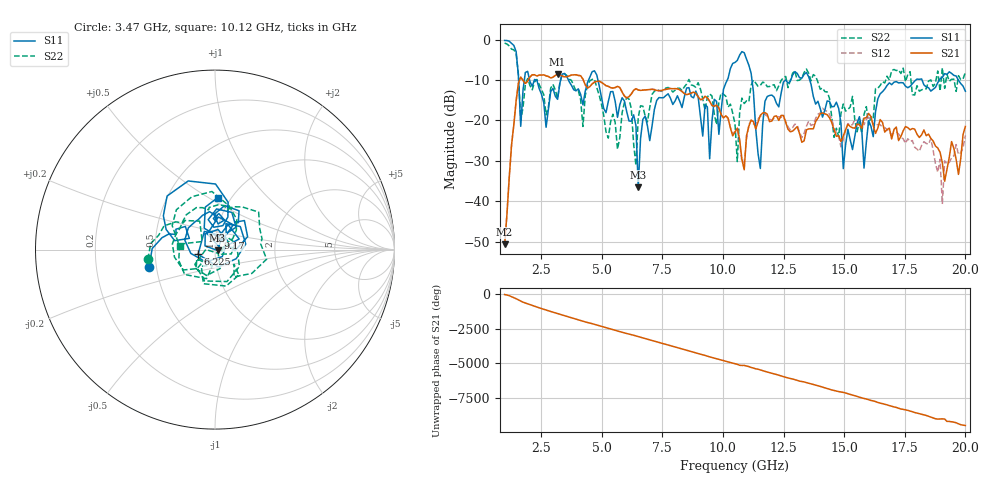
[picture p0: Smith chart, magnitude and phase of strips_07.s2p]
!Agilent Technologies,N5230A,MY45001629,A.07.50.67
!Agilent N5230A: A.07.50.67
!Date: Monday, June 05, 2017 16:30:44
!Correction: S11(Full 2 Port(1,2))
!S21(Full 2 Port(1,2))
!S12(Full 2 Port(1,2))
!S22(Full 2 Port(1,2))
!S2P File: Measurements: S11, S21, S12, S22:
# Hz S  dB  R 50
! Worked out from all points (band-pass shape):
!   201 points, 1 GHz to 20 GHz, reference 50 ohm
!   highest |S21| = -8.62 dB at 3.185 GHz (marker M1); lowest = -50.7 dB at 1 GHz (marker M2)
!   |S21| within 3 dB of the highest: 1.552 GHz to 4.379 GHz (2.827 GHz wide, 95.3 % of centre); 4.516 GHz to 5.288 GHz (771.8 MHz wide, 15.7 % of centre)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
!   lowest |S11| = -36.5 dB at 6.51 GHz (marker M3), VSWR 1.03, Z = 51.4 - j0.492 ohm
!   |S11| at or under -10 dB: 4.848 GHz to 10.18 GHz (5.334 GHz wide, 71 % of centre); 11.2 GHz to 12.59 GHz (1.386 GHz wide, 11.7 % of centre); 13.58 GHz to 17.96 GHz (4.381 GHz wide, 27.8 % of centre)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
!   |S22| runs from -31.2 to -0.9 dB; largest |S21 - S12| = 0.034
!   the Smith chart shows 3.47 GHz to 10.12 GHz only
!   S11 on the Smith chart (normalised r, x): 3.47 GHz: 0.45, -0.10; 6.225 GHz: 0.83, -0.04; 9.17 GHz: 1.02, +0.13; 10.12 GHz: 0.87, +0.55
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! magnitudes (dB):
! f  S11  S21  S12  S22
! 1 GHz  -0.2  -50.7  -51.1  -0.9
! 1.57 GHz  -9.0  -10.8  -10.7  -8.6
! 1.665 GHz  -21.5  -9.3  -9.3  -20.0
! 3.185 GHz  -14.8  -8.6  -8.7  -14.5
! 3.47 GHz  -8.4  -9.2  -9.2  -8.5
! 4.23 GHz  -16.1  -9.8  -9.8  -21.5
! 6.225 GHz  -20.2  -13.5  -13.4  -17.1
! 6.415 GHz  -21.2  -12.2  -12.2  -31.2
! 6.51 GHz  -36.5  -12.5  -12.4  -19.3
! 7.365 GHz  -14.3  -12.6  -12.7  -12.6
! 9.17 GHz  -23.9  -14.7  -14.9  -14.6
! 10.12 GHz  -10.8  -18.9  -19.0  -14.0
! 10.5 GHz  -5.7  -22.9  -22.7  -20.9
! 11.16 GHz  -8.3  -19.9  -20.0  -11.3
! 11.54 GHz  -31.9  -18.7  -19.0  -11.3
! 11.83 GHz  -14.1  -18.4  -19.0  -11.7
! 13.73 GHz  -14.1  -22.1  -21.0  -8.7
! 15.82 GHz  -31.8  -19.4  -21.1  -18.5
! 16.86 GHz  -10.7  -21.9  -22.8  -10.0
! 18.57 GHz  -12.8  -24.5  -24.5  -10.0
! 19.05 GHz  -9.3  -30.5  -40.7  -7.0
! 20 GHz  -12.8  -21.5  -23.7  -8.1
